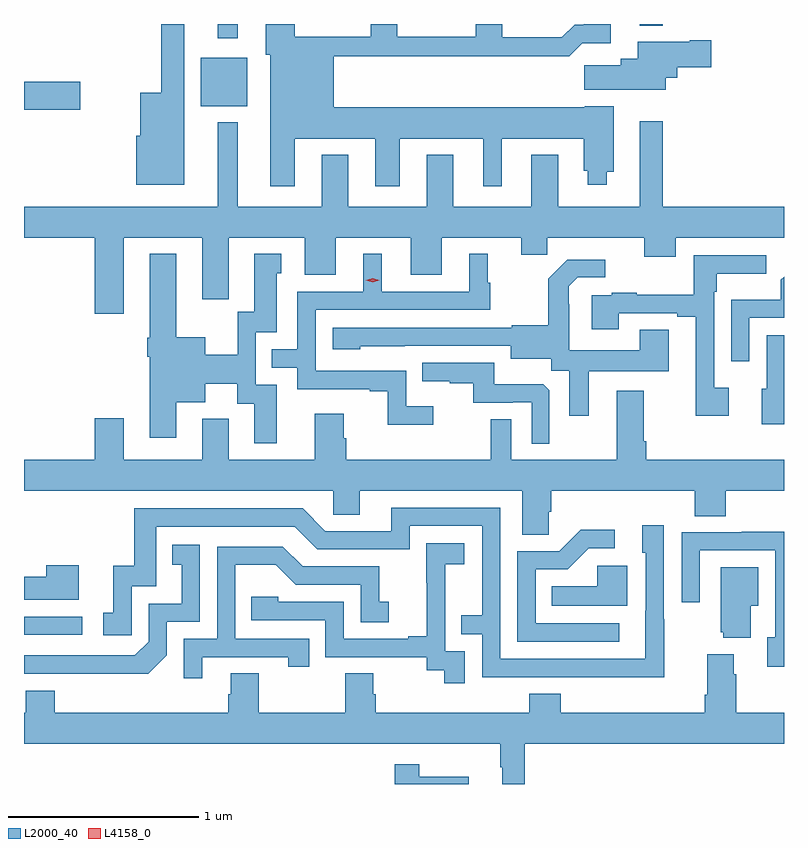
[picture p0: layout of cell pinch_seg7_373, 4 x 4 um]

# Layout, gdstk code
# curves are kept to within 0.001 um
import gdstk
lib = gdstk.Library(unit=1e-6, precision=1e-09)
def R(c, l, rs):  # rectangles x0, y0, x1, y1
    for r in rs: c.add(gdstk.rectangle(r[:2], r[2:], *l))
def P(c, l, *ps):  # polygons
    for p in ps: c.add(gdstk.Polygon(p, *l))
L2000_40 = (2000, 40)
L4158_0 = (4158, 0)

pinch_seg7_373 = lib.new_cell('pinch_seg7_373')
R(pinch_seg7_373, L2000_40, [(434.722,1021.17,435.028,1021.266), (434.722,1023.935,435.019,1024.082), (435.653,1023.953,435.898,1024.207), (435.743,1024.311,435.847,1024.385), (437.963,1024.376,438.085,1024.385)])
P(pinch_seg7_373, L2000_40, [(436.147,1023.782),(436.571,1023.782),(436.571,1023.531),(436.699,1023.531),(436.699,1023.782),(437.138,1023.782),(437.138,1023.531),(437.236,1023.531),(437.236,1023.782),(437.669,1023.782),(437.669,1023.612),(437.69,1023.612),(437.69,1023.539),(437.788,1023.539),(437.788,1023.608),(437.827,1023.608),(437.827,1023.952),(437.673,1023.952),(437.673,1023.946),(436.351,1023.946),(436.351,1024.216),(437.335,1024.216),(437.335,1024.214),(437.591,1024.214),(437.66,1024.283),(437.809,1024.283),(437.809,1024.385),(437.669,1024.385),(437.669,1024.381),(437.62,1024.381),(437.553,1024.314),(437.239,1024.314),(437.239,1024.385),(437.099,1024.385),(437.099,1024.317),(436.687,1024.317),(436.687,1024.385),(436.547,1024.385),(436.547,1024.317),(436.147,1024.317),(436.147,1024.385),(435.995,1024.385),(435.995,1024.224),(436.019,1024.224),(436.019,1023.531),(436.147,1023.531)],
  [(435.565,1024.385),(435.444,1024.385),(435.444,1024.024),(435.335,1024.024),(435.335,1023.798),(435.314,1023.798),(435.314,1023.539),(435.565,1023.539)],
  [(438.1,1024.103),(438.16,1024.103),(438.16,1024.157),(438.34,1024.157),(438.34,1024.299),(438.227,1024.299),(438.227,1024.291),(437.951,1024.291),(437.951,1024.201),(437.864,1024.201),(437.864,1024.169),(437.67,1024.169),(437.67,1024.04),(438.1,1024.04)],
  [(435.743,1023.424),(434.722,1023.424),(434.722,1023.26),(435.095,1023.26),(435.095,1022.859),(435.247,1022.859),(435.247,1023.26),(435.659,1023.26),(435.659,1022.937),(435.799,1022.937),(435.799,1023.26),(436.199,1023.26),(436.199,1023.066),(436.363,1023.066),(436.363,1023.26),(436.757,1023.26),(436.757,1023.066),(436.921,1023.066),(436.921,1023.26),(437.339,1023.26),(437.339,1023.17),(437.477,1023.17),(437.477,1023.26),(437.987,1023.26),(437.987,1023.161),(438.151,1023.161),(438.151,1023.26),(438.722,1023.26),(438.722,1023.424),(438.085,1023.424),(438.085,1023.874),(437.963,1023.874),(437.963,1023.424),(437.533,1023.424),(437.533,1023.697),(437.393,1023.697),(437.393,1023.424),(436.981,1023.424),(436.981,1023.697),(436.841,1023.697),(436.841,1023.424),(436.429,1023.424),(436.429,1023.697),(436.289,1023.697),(436.289,1023.424),(435.847,1023.424),(435.847,1023.868),(435.743,1023.868)],
  [(436.876,1022.374),(436.734,1022.374),(436.734,1022.559),(436.257,1022.559),(436.257,1022.88),(437.176,1022.88),(437.176,1023.024),(437.164,1023.024),(437.164,1023.175),(437.066,1023.175),(437.066,1022.976),(436.606,1022.976),(436.606,1023.175),(436.508,1023.175),(436.508,1022.976),(436.161,1022.976),(436.161,1022.673),(436.027,1022.673),(436.027,1022.577),(436.161,1022.577),(436.161,1022.463),(436.541,1022.463),(436.541,1022.451),(436.636,1022.451),(436.636,1022.276),(436.876,1022.276)],
  [(436.051,1022.487),(435.942,1022.487),(435.942,1022.763),(436.051,1022.763),(436.051,1023.072),(436.075,1023.072),(436.075,1023.175),(435.935,1023.175),(435.935,1022.871),(435.846,1022.871),(435.846,1022.644),(435.676,1022.644),(435.676,1022.737),(435.523,1022.737),(435.523,1023.175),(435.383,1023.175),(435.383,1022.733),(435.371,1022.733),(435.371,1022.633),(435.383,1022.633),(435.383,1022.208),(435.523,1022.208),(435.523,1022.393),(435.676,1022.393),(435.676,1022.492),(435.845,1022.492),(435.845,1022.386),(435.935,1022.386),(435.935,1022.178),(436.051,1022.178)],
  [(438.43,1022.47),(438.354,1022.47),(438.354,1022.975),(438.367,1022.975),(438.367,1023.071),(438.628,1023.071),(438.628,1023.168),(438.246,1023.168),(438.246,1022.96),(437.947,1022.96),(437.947,1022.971),(437.815,1022.971),(437.815,1022.958),(437.711,1022.958),(437.711,1022.778),(437.851,1022.778),(437.851,1022.862),(438.161,1022.862),(438.161,1022.844),(438.257,1022.844),(438.257,1022.322),(438.43,1022.322)],
  [(437.695,1022.558),(438.115,1022.558),(438.115,1022.777),(437.963,1022.777),(437.963,1022.668),(437.592,1022.668),(437.592,1022.909),(437.59,1022.909),(437.59,1023.004),(437.637,1023.051),(437.782,1023.051),(437.782,1023.145),(437.581,1023.145),(437.481,1023.045),(437.481,1022.8),(437.289,1022.8),(437.289,1022.787),(436.347,1022.787),(436.347,1022.672),(436.491,1022.672),(436.491,1022.69),(437.285,1022.691),(437.285,1022.624),(437.496,1022.624),(437.496,1022.56),(437.591,1022.56),(437.591,1022.322),(437.695,1022.322)],
  [(438.54,1022.838),(438.722,1022.838),(438.722,1023.054),(438.706,1023.038),(438.706,1022.935),(438.444,1022.935),(438.444,1022.61),(438.54,1022.61)],
  [(438.722,1022.748),(438.63,1022.748),(438.63,1022.466),(438.605,1022.466),(438.605,1022.279),(438.722,1022.279)],
  [(437.487,1022.457),(437.455,1022.489),(437.197,1022.489),(437.197,1022.601),(436.819,1022.601),(436.819,1022.504),(436.963,1022.504),(436.963,1022.493),(437.087,1022.493),(437.087,1022.391),(437.294,1022.391),(437.294,1022.394),(437.394,1022.394),(437.394,1022.177),(437.487,1022.177)],
  [(437.484,1021.819),(437.498,1021.819),(437.498,1021.928),(438.251,1021.928),(438.251,1021.795),(438.416,1021.795),(438.416,1021.928),(438.722,1021.928),(438.722,1022.092),(437.996,1022.092),(437.996,1022.188),(437.983,1022.188),(437.983,1022.455),(437.843,1022.455),(437.843,1022.092),(437.286,1022.092),(437.286,1022.306),(437.178,1022.306),(437.178,1022.092),(436.418,1022.092),(436.418,1022.205),(436.405,1022.205),(436.405,1022.335),(436.253,1022.335),(436.253,1022.092),(435.799,1022.092),(435.799,1022.308),(435.659,1022.308),(435.659,1022.092),(435.247,1022.092),(435.247,1022.311),(435.095,1022.311),(435.095,1022.092),(434.722,1022.092),(434.722,1021.928),(436.35,1021.928),(436.35,1021.801),(436.489,1021.801),(436.489,1021.928),(437.345,1021.928),(437.345,1021.696),(437.484,1021.696)],
  [(438.093,1021.253),(438.09,1021.253),(438.09,1021.747),(437.975,1021.747),(437.975,1021.602),(437.994,1021.602),(437.993,1021.044),(437.229,1021.044),(437.229,1021.839),(436.655,1021.839),(436.655,1021.716),(436.308,1021.716),(436.188,1021.836),(435.301,1021.836),(435.301,1021.534),(435.191,1021.534),(435.191,1021.287),(435.138,1021.287),(435.138,1021.167),(435.288,1021.167),(435.288,1021.425),(435.417,1021.425),(435.417,1021.74),(436.146,1021.74),(436.266,1021.62),(436.752,1021.62),(436.752,1021.743),(437.133,1021.743),(437.133,1021.274),(437.023,1021.274),(437.023,1021.173),(437.133,1021.173),(437.133,1020.948),(438.093,1020.947)],
  [(437.854,1021.23),(437.415,1021.23),(437.415,1021.515),(437.584,1021.515),(437.695,1021.626),(437.83,1021.626),(437.83,1021.724),(437.651,1021.724),(437.538,1021.611),(437.319,1021.611),(437.319,1021.134),(437.854,1021.134)],
  [(438.722,1021.712),(438.499,1021.712),(438.499,1021.71),(438.183,1021.71),(438.183,1021.341),(438.279,1021.341),(438.279,1021.614),(438.675,1021.614),(438.675,1021.158),(438.635,1021.158),(438.635,1021.002),(438.722,1021.002)],
  [(437.043,1021.083),(436.938,1021.083),(436.938,1021.313),(436.94,1021.313),(436.94,1021.541),(437.038,1021.541),(437.038,1021.651),(436.84,1021.651),(436.84,1021.445),(436.841,1021.445),(436.841,1021.162),(436.745,1021.162),(436.745,1021.149),(436.404,1021.149),(436.404,1021.344),(436.059,1021.344),(436.059,1021.371),(435.919,1021.371),(435.919,1021.248),(436.308,1021.248),(436.308,1021.053),(436.842,1021.053),(436.842,1020.985),(436.935,1020.985),(436.935,1020.915),(437.043,1020.915)],
  [(435.474,1021.062),(435.474,1021.239),(435.648,1021.239),(435.648,1021.645),(435.502,1021.645),(435.502,1021.539),(435.551,1021.539),(435.551,1021.335),(435.378,1021.335),(435.378,1021.134),(435.306,1021.062),(434.722,1021.062),(434.722,1020.966),(435.376,1020.965)],
  [(435.661,1021.053),(436.112,1021.053),(436.112,1021.002),(436.223,1021.002),(436.223,1021.149),(435.834,1021.149),(435.834,1021.538),(436.048,1021.538),(436.152,1021.434),(436.494,1021.434),(436.494,1021.236),(436.642,1021.236),(436.642,1021.345),(436.593,1021.345),(436.593,1021.53),(436.189,1021.53),(436.084,1021.635),(435.738,1021.635),(435.738,1021.149),(435.564,1021.149),(435.564,1020.942),(435.661,1020.942)],
  [(435.01,1021.537),(434.84,1021.537),(434.84,1021.477),(434.722,1021.477),(434.722,1021.355),(435.01,1021.355)],
  [(437.896,1021.534),(437.739,1021.534),(437.739,1021.426),(437.5,1021.426),(437.5,1021.322),(437.896,1021.322)],
  [(438.547,1021.322),(438.586,1021.322),(438.586,1021.525),(438.389,1021.525),(438.389,1021.185),(438.401,1021.185),(438.401,1021.154),(438.547,1021.154)],
  [(438.722,1020.76),(438.47,1020.76),(438.47,1020.962),(438.457,1020.962),(438.457,1021.069),(438.317,1021.069),(438.317,1020.856),(438.305,1020.856),(438.305,1020.76),(437.546,1020.76),(437.546,1020.859),(437.381,1020.859),(437.381,1020.76),(436.574,1020.76),(436.574,1020.858),(436.561,1020.858),(436.561,1020.968),(436.414,1020.968),(436.414,1020.76),(435.957,1020.76),(435.957,1020.968),(435.809,1020.968),(435.809,1020.858),(435.797,1020.858),(435.797,1020.76),(434.885,1020.76),(434.885,1020.877),(434.732,1020.877),(434.732,1020.76),(434.722,1020.76),(434.722,1020.596),(437.229,1020.596),(437.229,1020.473),(437.24,1020.473),(437.24,1020.385),(437.357,1020.385),(437.357,1020.596),(438.722,1020.596)],
  [(437.062,1020.424),(436.801,1020.424),(436.801,1020.49),(436.672,1020.49),(436.672,1020.385),(437.062,1020.385)])
P(pinch_seg7_373, L4158_0, [(436.557,1023.027),(436.521,1023.037),(436.521,1023.037),(436.521,1023.037),(436.557,1023.047),(436.593,1023.037),(436.593,1023.037),(436.593,1023.037)])

lib.write_gds('pinch_seg7_373.gds')
